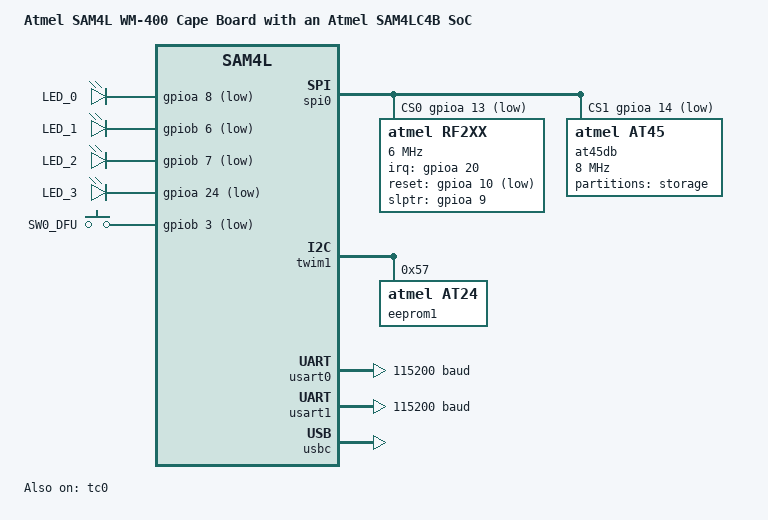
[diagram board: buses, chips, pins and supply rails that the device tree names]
/*
 * Copyright (c) 2020-2025 Gerson Fernando Budke <nandojve@gmail.com>
 * SPDX-License-Identifier: Apache-2.0
 */

/dts-v1/;

#include <atmel/sam4lx4.dtsi>
#include "sam4l_wm400_cape-pinctrl.dtsi"
#include <zephyr/dt-bindings/input/input-event-codes.h>

/ {
	model = "Atmel SAM4L WM-400 Cape Board with an Atmel SAM4LC4B SoC";
	compatible = "peregrine,sam4l_wm400_cape", "atmel,sam4lc4b", "atmel,sam4l";

	aliases {
		i2c-0 = &twim1;
		led0 = &red_mod_led;
		led1 = &green_mod_led;
		led2 = &blue_mod_led;
		led3 = &red_cape_led;
		sw0 = &sw0_dfu;
	};

	chosen {
		zephyr,console = &usart1;
		zephyr,shell-uart = &usart1;
		zephyr,sram = &sram0;
		zephyr,flash = &flash0;
		zephyr,code-partition= &code_partition;
	};

	leds {
		compatible = "gpio-leds";

		red_mod_led: led_0 {
			gpios = <&gpioa 8 GPIO_ACTIVE_LOW>;
			label = "LED_0";
		};

		green_mod_led: led_1 {
			gpios = <&gpiob 6 GPIO_ACTIVE_LOW>;
			label = "LED_1";
		};

		blue_mod_led: led_2 {
			gpios = <&gpiob 7 GPIO_ACTIVE_LOW>;
			label = "LED_2";
		};

		red_cape_led: led_3 {
			gpios = <&gpioa 24 GPIO_ACTIVE_LOW>;
			label = "LED_3";
		};
	};

	gpio_keys {
		compatible = "gpio-keys";

		sw0_dfu: button_1 {
			gpios = <&gpiob 3 (GPIO_ACTIVE_LOW)>;
			label = "SW0_DFU";
			zephyr,code = <INPUT_KEY_0>;
		};
	};
};

&cpu0 {
	clock-frequency = <48000000>;
};

&flash0 {
	partitions {
		compatible = "fixed-partitions";
		#address-cells = <1>;
		#size-cells = <1>;

		boot_partition: partition@0 {
			label = "sam-ba";
			reg = <0x000000000 0x00004000>;
		};

		code_partition: partition@4000 {
			label = "image";
			reg = <0x00004000 0x0003c000>;
		};
	};
};

&spi0 {
	status = "okay";

	pinctrl-0 = <&spi0_default>;
	pinctrl-names = "default";

	cs-gpios = <&gpioa 13 (GPIO_PULL_UP | GPIO_ACTIVE_LOW)
		    &gpioa 14 (GPIO_PULL_UP | GPIO_ACTIVE_LOW)>;

	rf2xx@0 {
		compatible = "atmel,rf2xx";
		reg = <0x0>;
		spi-max-frequency = <6000000>;
		irq-gpios = <&gpioa 20 (GPIO_PULL_DOWN | GPIO_ACTIVE_HIGH)>;
		reset-gpios = <&gpioa 10 GPIO_ACTIVE_LOW>;
		slptr-gpios = <&gpioa 9 GPIO_ACTIVE_HIGH>;
		status = "okay";
	};

	at45db: at45db081d@1 {
		compatible = "atmel,at45";
		reg = <1>;
		spi-max-frequency = <8000000>;
		jedec-id = [1f 25 00];
		size = <8388608>;
		sector-size = <65536>;
		block-size = <2048>;
		page-size = <256>;
		enter-dpd-delay = <3000>;
		exit-dpd-delay = <35000>;

		partitions {
			compatible = "fixed-partitions";
			#address-cells = <1>;
			#size-cells = <1>;

			storage_partition: partition@0 {
				label = "storage";
				reg = <0x00000000 0x00100000>;
			};
		};
	};
};

&tc0 {
	clk = <4>;
	status = "okay";
};

&twim1 {
	status = "okay";

	pinctrl-0 = <&twi1_default>;
	pinctrl-names = "default";

	std-clk-slew-lim = <0>;
	std-clk-strength-low = "0.5";
	std-data-slew-lim = <0>;
	std-data-strength-low = "0.5";

	hs-clk-slew-lim = <0>;
	hs-clk-strength-high = "0.5";
	hs-clk-strength-low = "0.5";
	hs-data-slew-lim = <0>;
	hs-data-strength-low = "0.5";

	hs-master-code = <0>;

	eeprom1: eeprom@57 {
		compatible = "atmel,at24";
		reg = <0x57>;
		size = <32768>;
		pagesize = <64>;
		address-width = <16>;
		timeout = <5>;
	};
};

&usart0 {
	status = "okay";
	current-speed = <115200>;

	pinctrl-0 = <&usart0_default>;
	pinctrl-names = "default";
};

&usart1 {
	status = "okay";
	current-speed = <115200>;

	pinctrl-0 = <&usart1_default>;
	pinctrl-names = "default";
};

zephyr_udc0: &usbc {
	status = "okay";

	pinctrl-0 = <&usbc_default>;
	pinctrl-names = "default";
};
